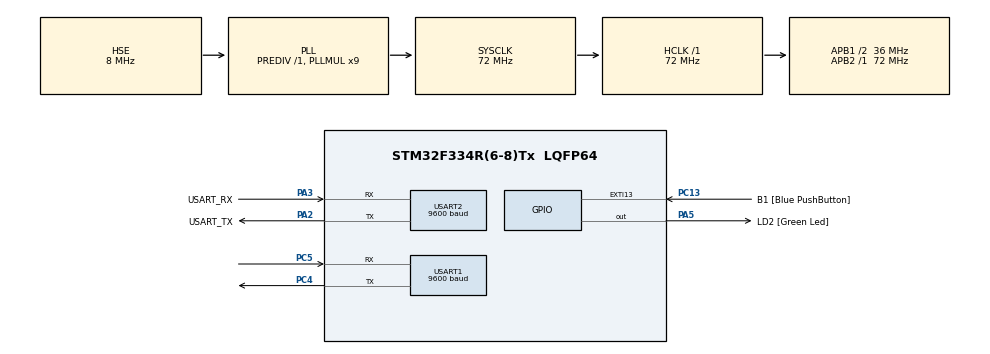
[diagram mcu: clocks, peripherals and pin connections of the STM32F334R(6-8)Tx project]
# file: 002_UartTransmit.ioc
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Mcu.Family=STM32F3
Mcu.Name=STM32F334R(6-8)Tx
Mcu.Package=LQFP64
NVIC.PriorityGroup=NVIC_PRIORITYGROUP_0
NVIC.USART1_IRQn=true\:0\:0\:false\:false\:true\:true\:true\:true
PA13.GPIO_Label=TMS
PA13.Mode=Serial_Wire
PA13.Signal=SYS_JTMS-SWDIO
PA14.GPIO_Label=TCK
PA14.Mode=Serial_Wire
PA14.Signal=SYS_JTCK-SWCLK
PA2.GPIO_Label=USART_TX
PA2.Mode=Asynchronous
PA2.Signal=USART2_TX
PA3.GPIO_Label=USART_RX
PA3.Mode=Asynchronous
PA3.Signal=USART2_RX
PA5.GPIO_Label=LD2 [Green Led]
PA5.Signal=GPIO_Output
PB3.GPIO_Label=SWO
PB3.Signal=SYS_JTDO-TRACESWO
PC13.GPIO_Label=B1 [Blue PushButton]
PC13.GPIO_ModeDefaultEXTI=GPIO_MODE_IT_FALLING
PC13.Signal=GPXTI13
PC14\ /\ OSC32_IN.Mode=LSE-External-Oscillator
PC14\ /\ OSC32_IN.Signal=RCC_OSC32_IN
PC15\ /\ OSC32_OUT.GPIO_Label=RCC_OSC32_OUT
PC15\ /\ OSC32_OUT.Mode=LSE-External-Oscillator
PC15\ /\ OSC32_OUT.Signal=RCC_OSC32_OUT
PC4.Mode=Asynchronous
PC4.Signal=USART1_TX
PC5.Mode=Asynchronous
PC5.Signal=USART1_RX
PF0\ /\ OSC_IN.Mode=HSE-External-Clock-Source
PF0\ /\ OSC_IN.Signal=RCC_OSC_IN
PF1\ /\ OSC_OUT.Signal=RCC_OSC_OUT
ProjectManager.HeapSize=0x200
ProjectManager.StackSize=0x400
ProjectManager.TargetToolchain=STM32CubeIDE
RCC.AHBFreq_Value=72000000
RCC.APB1CLKDivider=RCC_HCLK_DIV2
RCC.APB1Freq_Value=36000000
RCC.APB1TimFreq_Value=72000000
RCC.APB2Freq_Value=72000000
RCC.APB2TimFreq_Value=72000000
RCC.CortexFreq_Value=72000000
RCC.FLatency-AdvancedSettings=FLASH_LATENCY_2
RCC.HCLKFreq_Value=72000000
RCC.HSE_VALUE=8000000
RCC.HSI_VALUE=8000000
RCC.PLLMUL=RCC_PLL_MUL9
RCC.PLLSourceVirtual=RCC_PLLSOURCE_HSE
RCC.SYSCLKFreq_VALUE=72000000
RCC.SYSCLKSourceVirtual=RCC_SYSCLKSOURCE_PLLCLK
USART1.BaudRate=9600
USART1.VirtualMode-Asynchronous=VM_ASYNC
USART2.BaudRate=9600
USART2.VirtualMode-Asynchronous=VM_ASYNC
board=NUCLEO-F334R8

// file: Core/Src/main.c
/* USER CODE BEGIN Header */
/**
  ******************************************************************************
  * @file           : main.c
  * @brief          : Main program body
  ******************************************************************************
  * @attention
  *
  * Copyright (c) 2022 STMicroelectronics.
  * All rights reserved.
  *
  * This software is licensed under terms that can be found in the LICENSE file
  * in the root directory of this software component.
  * If no LICENSE file comes with this software, it is provided AS-IS.
  *
  ******************************************************************************
  */
/* USER CODE END Header */
#include "main.h"

/* USER CODE BEGIN Includes */
#include <string.h>
#include <time.h>
#include <stdlib.h>
/* USER CODE END Includes */

UART_HandleTypeDef huart1;
UART_HandleTypeDef huart2;

void SystemClock_Config(void);
static void MX_GPIO_Init(void);
static void MX_USART2_UART_Init(void);
static void MX_USART1_UART_Init(void);

/* USER CODE BEGIN 0 */

uint8_t rxArray[1];				//uart receiver the interrupt
uint8_t receiverFlag = 0;
uint8_t rndTx[4];
uint8_t loop = 0;
uint32_t rndNumber = 0;
volatile int i = 0;

void HAL_UART_RxCpltCallback(UART_HandleTypeDef *huart)
{
	if(huart == &huart1)
	{
		receiverFlag = 1;
		HAL_UART_Receive_IT(huart, (uint8_t*)rxArray, 1);
	}
}

/* USER CODE END 0 */

int main(void)
{

  /* MCU Configuration--------------------------------------------------------*/

  /* Reset of all peripherals, Initializes the Flash interface and the Systick. */
  HAL_Init();

  /* Configure the system clock */
  SystemClock_Config();

  /* Initialize all configured peripherals */
  MX_GPIO_Init();
  MX_USART2_UART_Init();
  MX_USART1_UART_Init();
  /* USER CODE BEGIN 2 */

  HAL_UART_Receive_IT(&huart1,(uint8_t*)rxArray,1);
  srand(time(NULL));
  /* USER CODE END 2 */

  /* Infinite loop */
  while (1)
  {

    /* USER CODE BEGIN 3 */
	loop = rxArray[0];
	if(receiverFlag == 1)
	{
		for(i = 0; i<loop; i++)
		{
			rndNumber = rand();
			rndTx[0]= rndNumber & 0xff;
			rndTx[1]= (rndNumber >> 8)  & 0xff;
			rndTx[2]= (rndNumber >> 16)  & 0xff;
			rndTx[3]= (rndNumber >> 24)  & 0xff;

			HAL_UART_Transmit(&huart1, (uint8_t*)rndTx, sizeof(rndTx),100);
			HAL_Delay(5);
		}
		receiverFlag = 0;
	}
  }
  /* USER CODE END 3 */
}

void SystemClock_Config(void)
{
  RCC_OscInitTypeDef RCC_OscInitStruct = {0};
  RCC_ClkInitTypeDef RCC_ClkInitStruct = {0};
  RCC_PeriphCLKInitTypeDef PeriphClkInit = {0};

  /** Initializes the RCC Oscillators according to the specified parameters
  * in the RCC_OscInitTypeDef structure.
  */
  RCC_OscInitStruct.OscillatorType = RCC_OSCILLATORTYPE_HSE;
  RCC_OscInitStruct.HSEState = RCC_HSE_BYPASS;
  RCC_OscInitStruct.HSEPredivValue = RCC_HSE_PREDIV_DIV1;
  RCC_OscInitStruct.HSIState = RCC_HSI_ON;
  RCC_OscInitStruct.PLL.PLLState = RCC_PLL_ON;
  RCC_OscInitStruct.PLL.PLLSource = RCC_PLLSOURCE_HSE;
  RCC_OscInitStruct.PLL.PLLMUL = RCC_PLL_MUL9;
  if (HAL_RCC_OscConfig(&RCC_OscInitStruct) != HAL_OK)
  {
    Error_Handler();
  }

  /** Initializes the CPU, AHB and APB buses clocks
  */
  RCC_ClkInitStruct.ClockType = RCC_CLOCKTYPE_HCLK|RCC_CLOCKTYPE_SYSCLK
                              |RCC_CLOCKTYPE_PCLK1|RCC_CLOCKTYPE_PCLK2;
  RCC_ClkInitStruct.SYSCLKSource = RCC_SYSCLKSOURCE_PLLCLK;
  RCC_ClkInitStruct.AHBCLKDivider = RCC_SYSCLK_DIV1;
  RCC_ClkInitStruct.APB1CLKDivider = RCC_HCLK_DIV2;
  RCC_ClkInitStruct.APB2CLKDivider = RCC_HCLK_DIV1;

  if (HAL_RCC_ClockConfig(&RCC_ClkInitStruct, FLASH_LATENCY_2) != HAL_OK)
  {
    Error_Handler();
  }
  PeriphClkInit.PeriphClockSelection = RCC_PERIPHCLK_USART1;
  PeriphClkInit.Usart1ClockSelection = RCC_USART1CLKSOURCE_PCLK1;
  if (HAL_RCCEx_PeriphCLKConfig(&PeriphClkInit) != HAL_OK)
  {
    Error_Handler();
  }
}

static void MX_USART1_UART_Init(void)
{

  huart1.Instance = USART1;
  huart1.Init.BaudRate = 9600;
  huart1.Init.WordLength = UART_WORDLENGTH_8B;
  huart1.Init.StopBits = UART_STOPBITS_1;
  huart1.Init.Parity = UART_PARITY_NONE;
  huart1.Init.Mode = UART_MODE_TX_RX;
  huart1.Init.HwFlowCtl = UART_HWCONTROL_NONE;
  huart1.Init.OverSampling = UART_OVERSAMPLING_16;
  huart1.Init.OneBitSampling = UART_ONE_BIT_SAMPLE_DISABLE;
  huart1.AdvancedInit.AdvFeatureInit = UART_ADVFEATURE_NO_INIT;
  if (HAL_UART_Init(&huart1) != HAL_OK)
  {
    Error_Handler();
  }

}

static void MX_USART2_UART_Init(void)
{

  huart2.Instance = USART2;
  huart2.Init.BaudRate = 9600;
  huart2.Init.WordLength = UART_WORDLENGTH_8B;
  huart2.Init.StopBits = UART_STOPBITS_1;
  huart2.Init.Parity = UART_PARITY_NONE;
  huart2.Init.Mode = UART_MODE_TX_RX;
  huart2.Init.HwFlowCtl = UART_HWCONTROL_NONE;
  huart2.Init.OverSampling = UART_OVERSAMPLING_16;
  huart2.Init.OneBitSampling = UART_ONE_BIT_SAMPLE_DISABLE;
  huart2.AdvancedInit.AdvFeatureInit = UART_ADVFEATURE_NO_INIT;
  if (HAL_UART_Init(&huart2) != HAL_OK)
  {
    Error_Handler();
  }

}

static void MX_GPIO_Init(void)
{
  GPIO_InitTypeDef GPIO_InitStruct = {0};

  /* GPIO Ports Clock Enable */
  __HAL_RCC_GPIOC_CLK_ENABLE();
  __HAL_RCC_GPIOF_CLK_ENABLE();
  __HAL_RCC_GPIOA_CLK_ENABLE();
  __HAL_RCC_GPIOB_CLK_ENABLE();

  /*Configure GPIO pin Output Level */
  HAL_GPIO_WritePin(LD2_GPIO_Port, LD2_Pin, GPIO_PIN_RESET);

  /*Configure GPIO pin : B1_Pin */
  GPIO_InitStruct.Pin = B1_Pin;
  GPIO_InitStruct.Mode = GPIO_MODE_IT_FALLING;
  GPIO_InitStruct.Pull = GPIO_NOPULL;
  HAL_GPIO_Init(B1_GPIO_Port, &GPIO_InitStruct);

  /*Configure GPIO pin : LD2_Pin */
  GPIO_InitStruct.Pin = LD2_Pin;
  GPIO_InitStruct.Mode = GPIO_MODE_OUTPUT_PP;
  GPIO_InitStruct.Pull = GPIO_NOPULL;
  GPIO_InitStruct.Speed = GPIO_SPEED_FREQ_LOW;
  HAL_GPIO_Init(LD2_GPIO_Port, &GPIO_InitStruct);

}

void Error_Handler(void)
{
  __disable_irq();
  while (1)
  {
  }
}
